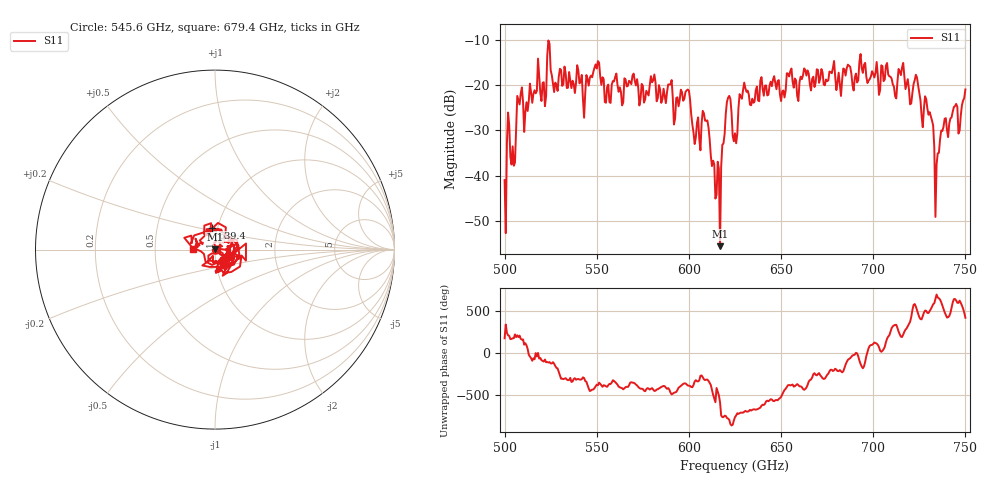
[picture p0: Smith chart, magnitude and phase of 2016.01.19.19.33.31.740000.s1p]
!Created with skrf (http://scikit-rf.org).
# GHz S RI R 50.0
!freq ReS11 ImS11
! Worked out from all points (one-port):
!   401 points, 500 GHz to 750 GHz, reference 50 ohm
!   lowest |S11| = -55.5 dB at 616.9 GHz (marker M1), VSWR 1.00, Z = 49.9 + j0.108 ohm
!   |S11| at or under -10 dB: start of sweep to end of sweep
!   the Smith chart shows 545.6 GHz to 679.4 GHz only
!   S11 on the Smith chart (normalised r, x): 545.6 GHz: 1.09, -0.18; 639.4 GHz: 0.94, +0.23; 679.4 GHz: 0.78, +0.01
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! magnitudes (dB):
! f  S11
! 500 GHz  -41.0
! 502.5 GHz  -28.9
! 505 GHz  -37.8
! 508.1 GHz  -24.3
! 521.2 GHz  -19.4
! 524.4 GHz  -10.9
! 527.5 GHz  -19.5
! 531.2 GHz  -20.2
! 545.6 GHz  -20.2
! 562.5 GHz  -20.5
! 593.8 GHz  -22.7
! 599.4 GHz  -21.0
! 603.1 GHz  -33.0
! 608.8 GHz  -27.9
! 615.6 GHz  -36.9
! 616.9 GHz  -55.5
! 621.2 GHz  -22.8
! 625 GHz  -30.6
! 628.8 GHz  -23.0
! 639.4 GHz  -18.3
! 656.2 GHz  -19.3
! 679.4 GHz  -18.3
! 687.5 GHz  -16.0
! 718.8 GHz  -18.7
! 729.4 GHz  -25.2
! 734.4 GHz  -37.5
! 738.1 GHz  -29.2
! 750 GHz  -21.0
